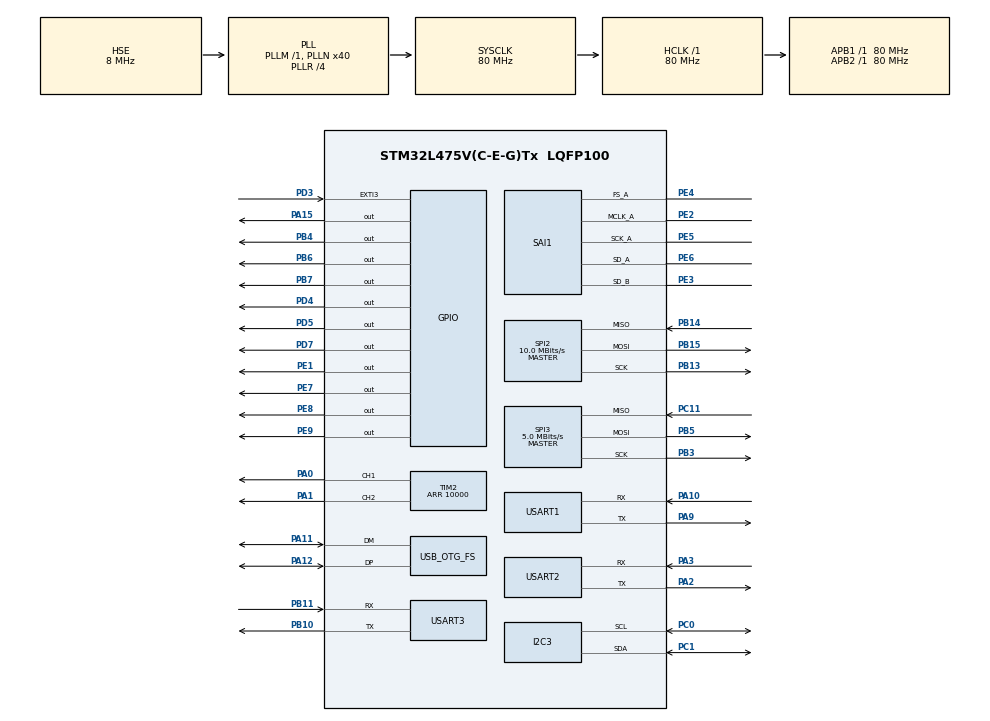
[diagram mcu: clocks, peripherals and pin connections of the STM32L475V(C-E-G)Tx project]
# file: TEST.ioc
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Dma.Request0=USART2_RX
Dma.Request1=USART3_RX
Dma.Request2=SAI1_A
Dma.Request3=SAI1_B
Dma.SAI1_A.2.Direction=DMA_MEMORY_TO_PERIPH
Dma.SAI1_A.2.Instance=DMA2_Channel1
Dma.SAI1_A.2.MemDataAlignment=DMA_MDATAALIGN_WORD
Dma.SAI1_A.2.MemInc=DMA_MINC_ENABLE
Dma.SAI1_A.2.Mode=DMA_NORMAL
Dma.SAI1_A.2.PeriphDataAlignment=DMA_PDATAALIGN_WORD
Dma.SAI1_A.2.PeriphInc=DMA_PINC_DISABLE
Dma.SAI1_A.2.Priority=DMA_PRIORITY_LOW
Dma.SAI1_B.3.Direction=DMA_PERIPH_TO_MEMORY
Dma.SAI1_B.3.Instance=DMA2_Channel2
Dma.SAI1_B.3.MemDataAlignment=DMA_MDATAALIGN_HALFWORD
Dma.SAI1_B.3.MemInc=DMA_MINC_ENABLE
Dma.SAI1_B.3.Mode=DMA_CIRCULAR
Dma.SAI1_B.3.PeriphDataAlignment=DMA_PDATAALIGN_HALFWORD
Dma.SAI1_B.3.PeriphInc=DMA_PINC_DISABLE
Dma.SAI1_B.3.Priority=DMA_PRIORITY_LOW
Dma.USART2_RX.0.Direction=DMA_PERIPH_TO_MEMORY
Dma.USART2_RX.0.Instance=DMA1_Channel6
Dma.USART2_RX.0.MemDataAlignment=DMA_MDATAALIGN_BYTE
Dma.USART2_RX.0.MemInc=DMA_MINC_ENABLE
Dma.USART2_RX.0.Mode=DMA_CIRCULAR
Dma.USART2_RX.0.PeriphDataAlignment=DMA_PDATAALIGN_BYTE
Dma.USART2_RX.0.PeriphInc=DMA_PINC_DISABLE
Dma.USART2_RX.0.Priority=DMA_PRIORITY_HIGH
Dma.USART3_RX.1.Direction=DMA_PERIPH_TO_MEMORY
Dma.USART3_RX.1.Instance=DMA1_Channel3
Dma.USART3_RX.1.MemDataAlignment=DMA_MDATAALIGN_BYTE
Dma.USART3_RX.1.MemInc=DMA_MINC_ENABLE
Dma.USART3_RX.1.Mode=DMA_CIRCULAR
Dma.USART3_RX.1.PeriphDataAlignment=DMA_PDATAALIGN_BYTE
Dma.USART3_RX.1.PeriphInc=DMA_PINC_DISABLE
Dma.USART3_RX.1.Priority=DMA_PRIORITY_HIGH
FREERTOS.MEMORY_ALLOCATION=2
FREERTOS.Tasks01=defaultTask,0,128,StartDefaultTask,Default,NULL,Static,defaultTaskBuffer,defaultTaskControlBlock
FREERTOS.configENABLE_FPU=1
FREERTOS.configTOTAL_HEAP_SIZE=30000
FREERTOS.configUSE_IDLE_HOOK=1
FREERTOS.configUSE_RECURSIVE_MUTEXES=1
I2C3.Timing=0x10D19CE4
Mcu.Family=STM32L4
Mcu.Name=STM32L475V(C-E-G)Tx
Mcu.Package=LQFP100
NVIC.DMA1_Channel3_IRQn=true\:5\:0\:false\:false\:true\:true\:false\:true\:true
NVIC.DMA1_Channel6_IRQn=true\:5\:0\:false\:false\:true\:true\:false\:true\:true
NVIC.DMA2_Channel1_IRQn=true\:0\:0\:false\:false\:true\:false\:false\:true\:true
NVIC.DMA2_Channel2_IRQn=true\:5\:0\:false\:false\:true\:true\:false\:true\:true
NVIC.EXTI3_IRQn=true\:5\:0\:false\:false\:true\:true\:true\:true\:true
NVIC.OTG_FS_IRQn=true\:5\:0\:false\:false\:true\:true\:true\:true\:true
NVIC.PriorityGroup=NVIC_PRIORITYGROUP_4
NVIC.TIM1_UP_TIM16_IRQn=true\:15\:0\:false\:false\:true\:false\:false\:true\:true
NVIC.TIM3_IRQn=true\:5\:0\:false\:false\:true\:true\:true\:true\:true
NVIC.TimeBase=TIM1_UP_TIM16_IRQn
NVIC.TimeBaseIP=TIM1
NVIC.USART1_IRQn=true\:5\:0\:false\:false\:true\:true\:true\:true\:true
NVIC.USART2_IRQn=true\:5\:0\:false\:false\:true\:true\:true\:true\:true
NVIC.USART3_IRQn=true\:5\:0\:false\:false\:true\:true\:true\:true\:true
PA0.GPIO_ModeDefaultPP=GPIO_MODE_AF_PP
PA0.Signal=S_TIM2_CH1
PA1.Signal=S_TIM2_CH2
PA10.Mode=Asynchronous
PA10.Signal=USART1_RX
PA11.Mode=Device_Only
PA11.Signal=USB_OTG_FS_DM
PA12.Mode=Device_Only
PA12.Signal=USB_OTG_FS_DP
PA13\ (JTMS-SWDIO).Mode=Serial_Wire
PA13\ (JTMS-SWDIO).Signal=SYS_JTMS-SWDIO
PA14\ (JTCK-SWCLK).Mode=Serial_Wire
PA14\ (JTCK-SWCLK).Signal=SYS_JTCK-SWCLK
PA15\ (JTDI).PinState=GPIO_PIN_SET
PA15\ (JTDI).Signal=GPIO_Output
PA2.Mode=Asynchronous
PA2.Signal=USART2_TX
PA3.Mode=Asynchronous
PA3.Signal=USART2_RX
PA9.Mode=Asynchronous
PA9.Signal=USART1_TX
PB10.Mode=Asynchronous
PB10.Signal=USART3_TX
PB11.Mode=Asynchronous
PB11.Signal=USART3_RX
PB13.Mode=Full_Duplex_Master
PB13.Signal=SPI2_SCK
PB14.Mode=Full_Duplex_Master
PB14.Signal=SPI2_MISO
PB15.Mode=Full_Duplex_Master
PB15.Signal=SPI2_MOSI
PB3\ (JTDO-TRACESWO).Mode=Full_Duplex_Master
PB3\ (JTDO-TRACESWO).Signal=SPI3_SCK
PB4\ (NJTRST).Signal=GPIO_Output
PB5.Mode=Full_Duplex_Master
PB5.Signal=SPI3_MOSI
PB6.Signal=GPIO_Output
PB7.PinState=GPIO_PIN_SET
PB7.Signal=GPIO_Output
PC0.Mode=I2C
PC0.Signal=I2C3_SCL
PC1.Mode=I2C
PC1.Signal=I2C3_SDA
PC11.Mode=Full_Duplex_Master
PC11.Signal=SPI3_MISO
PC14-OSC32_IN\ (PC14).Mode=LSE-External-Oscillator
PC14-OSC32_IN\ (PC14).Signal=RCC_OSC32_IN
PC15-OSC32_OUT\ (PC15).Mode=LSE-External-Oscillator
PC15-OSC32_OUT\ (PC15).Signal=RCC_OSC32_OUT
PD3.GPIO_ModeDefaultEXTI=GPIO_MODE_IT_FALLING
PD3.GPIO_PuPd=GPIO_PULLUP
PD3.Signal=GPXTI3
PD4.GPIO_PuPd=GPIO_PULLUP
PD4.PinState=GPIO_PIN_SET
PD4.Signal=GPIO_Output
PD5.GPIO_PuPd=GPIO_PULLUP
PD5.PinState=GPIO_PIN_SET
PD5.Signal=GPIO_Output
PD7.GPIO_PuPd=GPIO_PULLUP
PD7.PinState=GPIO_PIN_SET
PD7.Signal=GPIO_Output
PE1.GPIO_PuPd=GPIO_PULLUP
PE1.GPIO_Speed=GPIO_SPEED_FREQ_HIGH
PE1.PinState=GPIO_PIN_SET
PE1.Signal=GPIO_Output
PE2.Mode=SAI_A_MasterWithClock
PE2.Signal=SAI1_MCLK_A
PE3.Mode=SAI_B_SyncSlave
PE3.Signal=SAI1_SD_B
PE4.Mode=SAI_A_MasterWithClock
PE4.Signal=SAI1_FS_A
PE5.Mode=SAI_A_MasterWithClock
PE5.Signal=SAI1_SCK_A
PE6.Mode=SAI_A_MasterWithClock
PE6.Signal=SAI1_SD_A
PE7.Signal=GPIO_Output
PE8.Signal=GPIO_Output
PE9.Signal=GPIO_Output
PH0-OSC_IN\ (PH0).Mode=HSE-External-Oscillator
PH0-OSC_IN\ (PH0).Signal=RCC_OSC_IN
PH1-OSC_OUT\ (PH1).Mode=HSE-External-Oscillator
PH1-OSC_OUT\ (PH1).Signal=RCC_OSC_OUT
ProjectManager.HeapSize=0x200
ProjectManager.StackSize=0x400
ProjectManager.TargetToolchain=CMake
RCC.ADCFreq_Value=96000000
RCC.AHBFreq_Value=80000000
RCC.APB1Freq_Value=80000000
RCC.APB1TimFreq_Value=80000000
RCC.APB2Freq_Value=80000000
RCC.APB2TimFreq_Value=80000000
RCC.CortexFreq_Value=80000000
RCC.HCLKFreq_Value=80000000
RCC.HSE_VALUE=8000000
RCC.HSI_VALUE=16000000
RCC.MSI_VALUE=4000000
RCC.PLLN=40
RCC.PLLR=RCC_PLLR_DIV4
RCC.PLLSAI1N=24
RCC.PLLSAI1Q=RCC_PLLQ_DIV4
RCC.PLLSAI2N=26
RCC.PLLSAI2P=RCC_PLLP_DIV17
RCC.PLLSourceVirtual=RCC_PLLSOURCE_HSE
RCC.SAI1CLockSelection=RCC_SAI1CLKSOURCE_PLLSAI2
RCC.SYSCLKFreq_VALUE=80000000
RCC.SYSCLKSource=RCC_SYSCLKSOURCE_PLLCLK
RCC.USBFreq_Value=48000000
RCC.VCOOutputFreq_Value=320000000
SAI1.AudioFrequency-SAI_A_MasterWithClock=SAI_AUDIO_FREQUENCY_48K
SAI1.ErrorAudioFreq-SAI_A_MasterWithClock=-0.42 %
SAI1.InitProtocol-SAI_A_MasterWithClock=Enable
SAI1.InitProtocol-SAI_B_SyncSlave=Enable
SAI1.Instance-SAI_A_MasterWithClock=SAI$Index_Block_A
SAI1.Instance-SAI_B_SyncSlave=SAI$Index_Block_B
SAI1.MClockEnable-SAI_A_MasterWithClock=SAI_MASTERCLOCK_ENABLE
SAI1.OutputDrive-SAI_A_MasterWithClock=SAI_OUTPUTDRIVE_ENABLE
SAI1.OutputDrive-SAI_B_SyncSlave=SAI_OUTPUTDRIVE_ENABLE
SAI1.RealAudioFreq-SAI_A_MasterWithClock=47.794 KHz
SAI1.VirtualMode-SAI_A_MasterWithClock=VM_MASTER
SAI1.VirtualMode-SAI_B_SyncSlave=VM_SLAVE
SAI1.VirtualProtocol-SAI_A_BASIC=VM_BASIC_PROTOCOL
SAI1.VirtualProtocol-SAI_B_BASIC=VM_BASIC_PROTOCOL
SH.S_TIM2_CH1.0=TIM2_CH1,PWM Generation1 CH1
SH.S_TIM2_CH2.0=TIM2_CH2,PWM Generation2 CH2
SPI2.BaudRatePrescaler=SPI_BAUDRATEPRESCALER_8
SPI2.CalculateBaudRate=10.0 MBits/s
SPI2.DataSize=SPI_DATASIZE_8BIT
SPI2.Direction=SPI_DIRECTION_2LINES
SPI2.Mode=SPI_MODE_MASTER
SPI2.VirtualType=VM_MASTER
SPI3.BaudRatePrescaler=SPI_BAUDRATEPRESCALER_16
SPI3.CalculateBaudRate=5.0 MBits/s
SPI3.DataSize=SPI_DATASIZE_8BIT
SPI3.Direction=SPI_DIRECTION_2LINES
SPI3.FirstBit=SPI_FIRSTBIT_MSB
SPI3.Mode=SPI_MODE_MASTER
SPI3.NSSPMode=SPI_NSS_PULSE_DISABLE
SPI3.VirtualType=VM_MASTER
TIM2.Channel-PWM\ Generation1\ CH1=TIM_CHANNEL_1
TIM2.Channel-PWM\ Generation2\ CH2=TIM_CHANNEL_2
TIM2.Period=10000
TIM3.Period=10000
TIM3.Prescaler=7
USART1.VirtualMode-Asynchronous=VM_ASYNC
USART2.VirtualMode-Asynchronous=VM_ASYNC
USART3.VirtualMode-Asynchronous=VM_ASYNC
VP_FREERTOS_VS_CMSIS_V1.Mode=CMSIS_V1
VP_RTC_VS_RTC_Activate.Mode=RTC_Enabled
VP_RTC_VS_RTC_Calendar.Mode=RTC_Calendar
VP_SAI1_VP_$IpInstance_SAIA_SAI_BASIC.Mode=SAI_A_BASIC
VP_SAI1_VP_$IpInstance_SAIB_SAI_BASIC.Mode=SAI_B_BASIC
VP_SYS_VS_tim1.Mode=TIM1
VP_TIM2_VS_ClockSourceINT.Mode=Internal
VP_TIM3_VS_ClockSourceINT.Mode=Internal
board=custom

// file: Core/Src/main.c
/* USER CODE BEGIN Header */
/**
  ******************************************************************************
  * @file           : main.c
  * @brief          : Main program body
  ******************************************************************************
  * @attention
  *
  * Copyright (c) 2025 STMicroelectronics.
  * All rights reserved.
  *
  * This software is licensed under terms that can be found in the LICENSE file
  * in the root directory of this software component.
  * If no LICENSE file comes with this software, it is provided AS-IS.
  *
  ******************************************************************************
  */
/* USER CODE END Header */
#include "main.h"
#include "cmsis_os.h"
#include "usb_device.h"

/* USER CODE BEGIN Includes */
#include "config.h"
#if (CONFIG_USE_FREEMASTER == 1)
#include "freemaster.h"
#else
#include "debug_log.h"
#endif
#include "dc_control.h"
#include "lv_gui.h"
#include "esp8266_wifi.h"
#include "bsp_flash.h"
#include "app_main.h"
#include "es8388.h"
#include "usbd_audio_if.h"
/* USER CODE END Includes */

I2C_HandleTypeDef hi2c3;

RTC_HandleTypeDef hrtc;

SAI_HandleTypeDef hsai_BlockA1;
SAI_HandleTypeDef hsai_BlockB1;
DMA_HandleTypeDef hdma_sai1_a;
DMA_HandleTypeDef hdma_sai1_b;

SPI_HandleTypeDef hspi2;
SPI_HandleTypeDef hspi3;

TIM_HandleTypeDef htim2;
TIM_HandleTypeDef htim3;

UART_HandleTypeDef huart1;
UART_HandleTypeDef huart2;
UART_HandleTypeDef huart3;
DMA_HandleTypeDef hdma_usart2_rx;
DMA_HandleTypeDef hdma_usart3_rx;

osThreadId defaultTaskHandle;
/* Must match the stack depth in osThreadStaticDef() below. */
uint32_t defaultTaskBuffer[ 1024 ];
osStaticThreadDef_t defaultTaskControlBlock;
/* USER CODE BEGIN PV */

uint32_t num = 0;
/* USER CODE END PV */

void SystemClock_Config(void);
void PeriphCommonClock_Config(void);
static void MX_GPIO_Init(void);
static void MX_DMA_Init(void);
static void MX_SPI3_Init(void);
static void MX_TIM2_Init(void);
static void MX_TIM3_Init(void);
static void MX_USART1_UART_Init(void);
static void MX_USART2_UART_Init(void);
static void MX_RTC_Init(void);
static void MX_USART3_UART_Init(void);
static void MX_SPI2_Init(void);
static void MX_SAI1_Init(void);
static void MX_I2C3_Init(void);
void StartDefaultTask(void const * argument);

int main(void)
{

  /* MCU Configuration--------------------------------------------------------*/

  /* Reset of all peripherals, Initializes the Flash interface and the Systick. */
  HAL_Init();

  /* Configure the system clock */
  SystemClock_Config();

  /* Configure the peripherals common clocks */
  PeriphCommonClock_Config();

  /* Initialize all configured peripherals */
  MX_GPIO_Init();
  MX_DMA_Init();
  MX_SPI3_Init();
  MX_TIM2_Init();
  MX_TIM3_Init();
  MX_USART1_UART_Init();
  MX_USART2_UART_Init();
  MX_RTC_Init();
  MX_USART3_UART_Init();
  MX_SPI2_Init();
  MX_SAI1_Init();
  MX_I2C3_Init();
  /* USER CODE BEGIN 2 */

  app_init();
  /* USER CODE END 2 */

  /* Create the thread(s) */
  /* definition and creation of defaultTask */
  /* Stack raised from 128 to 1024 words: this task runs MX_USB_DEVICE_Init(),
     whose call chain (USBD_Init -> USBD_LL_Init -> HAL_PCD_Init ->
     HAL_PCD_MspInit, and USBD_RegisterClassComposite ->
     USBD_CMPSIT_AddToConfDesc -> USBD_CMPSIT_CDCDesc with its descriptor
     locals) is far deeper than the CubeMX default of 128 words. A 512 byte
     stack risked overflowing into the adjacent .bss, corrupting
     hUsbDeviceFS and leaving the composite device half configured. */
  osThreadStaticDef(defaultTask, StartDefaultTask, osPriorityNormal, 0, 1024, defaultTaskBuffer, &defaultTaskControlBlock);
  defaultTaskHandle = osThreadCreate(osThread(defaultTask), NULL);

  /* USER CODE BEGIN RTOS_THREADS */
  /* add threads, ... */
  app_task_init();
  /* USER CODE END RTOS_THREADS */

  /* Start scheduler */
  osKernelStart();

  /* We should never get here as control is now taken by the scheduler */

  /* Infinite loop */
  while (1)
  {

  }
}

void SystemClock_Config(void)
{
  RCC_OscInitTypeDef RCC_OscInitStruct = {0};
  RCC_ClkInitTypeDef RCC_ClkInitStruct = {0};

  /** Configure the main internal regulator output voltage
  */
  if (HAL_PWREx_ControlVoltageScaling(PWR_REGULATOR_VOLTAGE_SCALE1) != HAL_OK)
  {
    Error_Handler();
  }

  /** Initializes the RCC Oscillators according to the specified parameters
  * in the RCC_OscInitTypeDef structure.
  */
  RCC_OscInitStruct.OscillatorType = RCC_OSCILLATORTYPE_LSI|RCC_OSCILLATORTYPE_HSE;
  RCC_OscInitStruct.HSEState = RCC_HSE_ON;
  RCC_OscInitStruct.LSIState = RCC_LSI_ON;
  RCC_OscInitStruct.PLL.PLLState = RCC_PLL_ON;
  RCC_OscInitStruct.PLL.PLLSource = RCC_PLLSOURCE_HSE;
  RCC_OscInitStruct.PLL.PLLM = 1;
  RCC_OscInitStruct.PLL.PLLN = 40;
  RCC_OscInitStruct.PLL.PLLP = RCC_PLLP_DIV7;
  RCC_OscInitStruct.PLL.PLLQ = RCC_PLLQ_DIV2;
  RCC_OscInitStruct.PLL.PLLR = RCC_PLLR_DIV4;
  if (HAL_RCC_OscConfig(&RCC_OscInitStruct) != HAL_OK)
  {
    Error_Handler();
  }

  /** Initializes the CPU, AHB and APB buses clocks
  */
  RCC_ClkInitStruct.ClockType = RCC_CLOCKTYPE_HCLK|RCC_CLOCKTYPE_SYSCLK
                              |RCC_CLOCKTYPE_PCLK1|RCC_CLOCKTYPE_PCLK2;
  RCC_ClkInitStruct.SYSCLKSource = RCC_SYSCLKSOURCE_PLLCLK;
  RCC_ClkInitStruct.AHBCLKDivider = RCC_SYSCLK_DIV1;
  RCC_ClkInitStruct.APB1CLKDivider = RCC_HCLK_DIV1;
  RCC_ClkInitStruct.APB2CLKDivider = RCC_HCLK_DIV1;

  if (HAL_RCC_ClockConfig(&RCC_ClkInitStruct, FLASH_LATENCY_4) != HAL_OK)
  {
    Error_Handler();
  }
}

void PeriphCommonClock_Config(void)
{
  RCC_PeriphCLKInitTypeDef PeriphClkInit = {0};

  /** Initializes the peripherals clock
  */
  PeriphClkInit.PeriphClockSelection = RCC_PERIPHCLK_SAI1;
  PeriphClkInit.Sai1ClockSelection = RCC_SAI1CLKSOURCE_PLLSAI2;
  PeriphClkInit.PLLSAI2.PLLSAI2Source = RCC_PLLSOURCE_HSE;
  PeriphClkInit.PLLSAI2.PLLSAI2M = 1;
  PeriphClkInit.PLLSAI2.PLLSAI2N = 26;
  PeriphClkInit.PLLSAI2.PLLSAI2P = RCC_PLLP_DIV17;
  PeriphClkInit.PLLSAI2.PLLSAI2R = RCC_PLLR_DIV2;
  PeriphClkInit.PLLSAI2.PLLSAI2ClockOut = RCC_PLLSAI2_SAI2CLK;
  if (HAL_RCCEx_PeriphCLKConfig(&PeriphClkInit) != HAL_OK)
  {
    Error_Handler();
  }
}

static void MX_I2C3_Init(void)
{

  hi2c3.Instance = I2C3;
  hi2c3.Init.Timing = 0x10D19CE4;
  hi2c3.Init.OwnAddress1 = 0;
  hi2c3.Init.AddressingMode = I2C_ADDRESSINGMODE_7BIT;
  hi2c3.Init.DualAddressMode = I2C_DUALADDRESS_DISABLE;
  hi2c3.Init.OwnAddress2 = 0;
  hi2c3.Init.OwnAddress2Masks = I2C_OA2_NOMASK;
  hi2c3.Init.GeneralCallMode = I2C_GENERALCALL_DISABLE;
  hi2c3.Init.NoStretchMode = I2C_NOSTRETCH_DISABLE;
  if (HAL_I2C_Init(&hi2c3) != HAL_OK)
  {
    Error_Handler();
  }

  /** Configure Analogue filter
  */
  if (HAL_I2CEx_ConfigAnalogFilter(&hi2c3, I2C_ANALOGFILTER_ENABLE) != HAL_OK)
  {
    Error_Handler();
  }

  /** Configure Digital filter
  */
  if (HAL_I2CEx_ConfigDigitalFilter(&hi2c3, 0) != HAL_OK)
  {
    Error_Handler();
  }

}

static void MX_RTC_Init(void)
{

  RTC_TimeTypeDef sTime = {0};
  RTC_DateTypeDef sDate = {0};

  /** Initialize RTC Only
  */
  hrtc.Instance = RTC;
  hrtc.Init.HourFormat = RTC_HOURFORMAT_24;
  hrtc.Init.AsynchPrediv = 127;
  hrtc.Init.SynchPrediv = 255;
  hrtc.Init.OutPut = RTC_OUTPUT_DISABLE;
  hrtc.Init.OutPutRemap = RTC_OUTPUT_REMAP_NONE;
  hrtc.Init.OutPutPolarity = RTC_OUTPUT_POLARITY_HIGH;
  hrtc.Init.OutPutType = RTC_OUTPUT_TYPE_OPENDRAIN;
  if (HAL_RTC_Init(&hrtc) != HAL_OK)
  {
    Error_Handler();
  }

  /** Initialize RTC and set the Time and Date
  */
  sTime.Hours = 0x0;
  sTime.Minutes = 0x0;
  sTime.Seconds = 0x0;
  sTime.DayLightSaving = RTC_DAYLIGHTSAVING_NONE;
  sTime.StoreOperation = RTC_STOREOPERATION_RESET;
  if (HAL_RTC_SetTime(&hrtc, &sTime, RTC_FORMAT_BCD) != HAL_OK)
  {
    Error_Handler();
  }
  sDate.WeekDay = RTC_WEEKDAY_MONDAY;
  sDate.Month = RTC_MONTH_JANUARY;
  sDate.Date = 0x1;
  sDate.Year = 0x0;

  if (HAL_RTC_SetDate(&hrtc, &sDate, RTC_FORMAT_BCD) != HAL_OK)
  {
    Error_Handler();
  }

}

static void MX_SAI1_Init(void)
{

  hsai_BlockA1.Instance = SAI1_Block_A;
  hsai_BlockA1.Init.AudioMode = SAI_MODEMASTER_TX;
  hsai_BlockA1.Init.Synchro = SAI_ASYNCHRONOUS;
  hsai_BlockA1.Init.OutputDrive = SAI_OUTPUTDRIVE_ENABLE;
  hsai_BlockA1.Init.NoDivider = SAI_MASTERDIVIDER_ENABLE;
  hsai_BlockA1.Init.FIFOThreshold = SAI_FIFOTHRESHOLD_EMPTY;
  hsai_BlockA1.Init.AudioFrequency = SAI_AUDIO_FREQUENCY_48K;
  hsai_BlockA1.Init.SynchroExt = SAI_SYNCEXT_DISABLE;
  hsai_BlockA1.Init.MonoStereoMode = SAI_STEREOMODE;
  hsai_BlockA1.Init.CompandingMode = SAI_NOCOMPANDING;
  hsai_BlockA1.Init.TriState = SAI_OUTPUT_NOTRELEASED;
  if (HAL_SAI_InitProtocol(&hsai_BlockA1, SAI_I2S_STANDARD, SAI_PROTOCOL_DATASIZE_16BIT, 2) != HAL_OK)
  {
    Error_Handler();
  }
  hsai_BlockB1.Instance = SAI1_Block_B;
  hsai_BlockB1.Init.AudioMode = SAI_MODESLAVE_RX;
  hsai_BlockB1.Init.Synchro = SAI_SYNCHRONOUS;
  hsai_BlockB1.Init.OutputDrive = SAI_OUTPUTDRIVE_ENABLE;
  hsai_BlockB1.Init.FIFOThreshold = SAI_FIFOTHRESHOLD_EMPTY;
  hsai_BlockB1.Init.SynchroExt = SAI_SYNCEXT_DISABLE;
  hsai_BlockB1.Init.MonoStereoMode = SAI_STEREOMODE;
  hsai_BlockB1.Init.CompandingMode = SAI_NOCOMPANDING;
  hsai_BlockB1.Init.TriState = SAI_OUTPUT_NOTRELEASED;
  if (HAL_SAI_InitProtocol(&hsai_BlockB1, SAI_I2S_STANDARD, SAI_PROTOCOL_DATASIZE_16BIT, 2) != HAL_OK)
  {
    Error_Handler();
  }

}

static void MX_SPI2_Init(void)
{

  /* SPI2 parameter configuration*/
  hspi2.Instance = SPI2;
  hspi2.Init.Mode = SPI_MODE_MASTER;
  hspi2.Init.Direction = SPI_DIRECTION_2LINES;
  hspi2.Init.DataSize = SPI_DATASIZE_8BIT;
  hspi2.Init.CLKPolarity = SPI_POLARITY_LOW;
  hspi2.Init.CLKPhase = SPI_PHASE_1EDGE;
  hspi2.Init.NSS = SPI_NSS_SOFT;
  hspi2.Init.BaudRatePrescaler = SPI_BAUDRATEPRESCALER_8;
  hspi2.Init.FirstBit = SPI_FIRSTBIT_MSB;
  hspi2.Init.TIMode = SPI_TIMODE_DISABLE;
  hspi2.Init.CRCCalculation = SPI_CRCCALCULATION_DISABLE;
  hspi2.Init.CRCPolynomial = 7;
  hspi2.Init.CRCLength = SPI_CRC_LENGTH_DATASIZE;
  hspi2.Init.NSSPMode = SPI_NSS_PULSE_ENABLE;
  if (HAL_SPI_Init(&hspi2) != HAL_OK)
  {
    Error_Handler();
  }

}

static void MX_SPI3_Init(void)
{

  /* SPI3 parameter configuration*/
  hspi3.Instance = SPI3;
  hspi3.Init.Mode = SPI_MODE_MASTER;
  hspi3.Init.Direction = SPI_DIRECTION_2LINES;
  hspi3.Init.DataSize = SPI_DATASIZE_8BIT;
  hspi3.Init.CLKPolarity = SPI_POLARITY_LOW;
  hspi3.Init.CLKPhase = SPI_PHASE_1EDGE;
  hspi3.Init.NSS = SPI_NSS_SOFT;
  hspi3.Init.BaudRatePrescaler = SPI_BAUDRATEPRESCALER_16;
  hspi3.Init.FirstBit = SPI_FIRSTBIT_MSB;
  hspi3.Init.TIMode = SPI_TIMODE_DISABLE;
  hspi3.Init.CRCCalculation = SPI_CRCCALCULATION_DISABLE;
  hspi3.Init.CRCPolynomial = 7;
  hspi3.Init.CRCLength = SPI_CRC_LENGTH_DATASIZE;
  hspi3.Init.NSSPMode = SPI_NSS_PULSE_DISABLE;
  if (HAL_SPI_Init(&hspi3) != HAL_OK)
  {
    Error_Handler();
  }

}

static void MX_TIM2_Init(void)
{

  TIM_ClockConfigTypeDef sClockSourceConfig = {0};
  TIM_MasterConfigTypeDef sMasterConfig = {0};
  TIM_OC_InitTypeDef sConfigOC = {0};

  htim2.Instance = TIM2;
  htim2.Init.Prescaler = 0;
  htim2.Init.CounterMode = TIM_COUNTERMODE_UP;
  htim2.Init.Period = 10000;
  htim2.Init.ClockDivision = TIM_CLOCKDIVISION_DIV1;
  htim2.Init.AutoReloadPreload = TIM_AUTORELOAD_PRELOAD_DISABLE;
  if (HAL_TIM_Base_Init(&htim2) != HAL_OK)
  {
    Error_Handler();
  }
  sClockSourceConfig.ClockSource = TIM_CLOCKSOURCE_INTERNAL;
  if (HAL_TIM_ConfigClockSource(&htim2, &sClockSourceConfig) != HAL_OK)
  {
    Error_Handler();
  }
  if (HAL_TIM_PWM_Init(&htim2) != HAL_OK)
  {
    Error_Handler();
  }
  sMasterConfig.MasterOutputTrigger = TIM_TRGO_RESET;
  sMasterConfig.MasterSlaveMode = TIM_MASTERSLAVEMODE_DISABLE;
  if (HAL_TIMEx_MasterConfigSynchronization(&htim2, &sMasterConfig) != HAL_OK)
  {
    Error_Handler();
  }
  sConfigOC.OCMode = TIM_OCMODE_PWM1;
  sConfigOC.Pulse = 0;
  sConfigOC.OCPolarity = TIM_OCPOLARITY_HIGH;
  sConfigOC.OCFastMode = TIM_OCFAST_DISABLE;
  if (HAL_TIM_PWM_ConfigChannel(&htim2, &sConfigOC, TIM_CHANNEL_1) != HAL_OK)
  {
    Error_Handler();
  }
  if (HAL_TIM_PWM_ConfigChannel(&htim2, &sConfigOC, TIM_CHANNEL_2) != HAL_OK)
  {
    Error_Handler();
  }
  HAL_TIM_MspPostInit(&htim2);

}

static void MX_TIM3_Init(void)
{

  TIM_ClockConfigTypeDef sClockSourceConfig = {0};
  TIM_MasterConfigTypeDef sMasterConfig = {0};

  htim3.Instance = TIM3;
  htim3.Init.Prescaler = 7;
  htim3.Init.CounterMode = TIM_COUNTERMODE_UP;
  htim3.Init.Period = 10000;
  htim3.Init.ClockDivision = TIM_CLOCKDIVISION_DIV1;
  htim3.Init.AutoReloadPreload = TIM_AUTORELOAD_PRELOAD_DISABLE;
  if (HAL_TIM_Base_Init(&htim3) != HAL_OK)
  {
    Error_Handler();
  }
  sClockSourceConfig.ClockSource = TIM_CLOCKSOURCE_INTERNAL;
  if (HAL_TIM_ConfigClockSource(&htim3, &sClockSourceConfig) != HAL_OK)
  {
    Error_Handler();
  }
  sMasterConfig.MasterOutputTrigger = TIM_TRGO_RESET;
  sMasterConfig.MasterSlaveMode = TIM_MASTERSLAVEMODE_DISABLE;
  if (HAL_TIMEx_MasterConfigSynchronization(&htim3, &sMasterConfig) != HAL_OK)
  {
    Error_Handler();
  }

}

static void MX_USART1_UART_Init(void)
{

  huart1.Instance = USART1;
  huart1.Init.BaudRate = 115200;
  huart1.Init.WordLength = UART_WORDLENGTH_8B;
  huart1.Init.StopBits = UART_STOPBITS_1;
  huart1.Init.Parity = UART_PARITY_NONE;
  huart1.Init.Mode = UART_MODE_TX_RX;
  huart1.Init.HwFlowCtl = UART_HWCONTROL_NONE;
  huart1.Init.OverSampling = UART_OVERSAMPLING_16;
  huart1.Init.OneBitSampling = UART_ONE_BIT_SAMPLE_DISABLE;
  huart1.AdvancedInit.AdvFeatureInit = UART_ADVFEATURE_NO_INIT;
  if (HAL_UART_Init(&huart1) != HAL_OK)
  {
    Error_Handler();
  }

}

static void MX_USART2_UART_Init(void)
{

  huart2.Instance = USART2;
  huart2.Init.BaudRate = 115200;
  huart2.Init.WordLength = UART_WORDLENGTH_8B;
  huart2.Init.StopBits = UART_STOPBITS_1;
  huart2.Init.Parity = UART_PARITY_NONE;
  huart2.Init.Mode = UART_MODE_TX_RX;
  huart2.Init.HwFlowCtl = UART_HWCONTROL_NONE;
  huart2.Init.OverSampling = UART_OVERSAMPLING_16;
  huart2.Init.OneBitSampling = UART_ONE_BIT_SAMPLE_DISABLE;
  huart2.AdvancedInit.AdvFeatureInit = UART_ADVFEATURE_NO_INIT;
  if (HAL_UART_Init(&huart2) != HAL_OK)
  {
    Error_Handler();
  }

}

static void MX_USART3_UART_Init(void)
{

  huart3.Instance = USART3;
  huart3.Init.BaudRate = 115200;
  huart3.Init.WordLength = UART_WORDLENGTH_8B;
  huart3.Init.StopBits = UART_STOPBITS_1;
  huart3.Init.Parity = UART_PARITY_NONE;
  huart3.Init.Mode = UART_MODE_TX_RX;
  huart3.Init.HwFlowCtl = UART_HWCONTROL_NONE;
  huart3.Init.OverSampling = UART_OVERSAMPLING_16;
  huart3.Init.OneBitSampling = UART_ONE_BIT_SAMPLE_DISABLE;
  huart3.AdvancedInit.AdvFeatureInit = UART_ADVFEATURE_NO_INIT;
  if (HAL_UART_Init(&huart3) != HAL_OK)
  {
    Error_Handler();
  }

}

static void MX_DMA_Init(void)
{

  /* DMA controller clock enable */
  __HAL_RCC_DMA1_CLK_ENABLE();
  __HAL_RCC_DMA2_CLK_ENABLE();

  /* DMA interrupt init */
  /* DMA1_Channel3_IRQn interrupt configuration */
  HAL_NVIC_SetPriority(DMA1_Channel3_IRQn, 5, 0);
  HAL_NVIC_EnableIRQ(DMA1_Channel3_IRQn);
  /* DMA1_Channel6_IRQn interrupt configuration */
  HAL_NVIC_SetPriority(DMA1_Channel6_IRQn, 5, 0);
  HAL_NVIC_EnableIRQ(DMA1_Channel6_IRQn);
  /* DMA2_Channel1_IRQn interrupt configuration */
  HAL_NVIC_SetPriority(DMA2_Channel1_IRQn, 0, 0);
  HAL_NVIC_EnableIRQ(DMA2_Channel1_IRQn);
  /* DMA2_Channel2_IRQn interrupt configuration */
  HAL_NVIC_SetPriority(DMA2_Channel2_IRQn, 5, 0);
  HAL_NVIC_EnableIRQ(DMA2_Channel2_IRQn);

}

static void MX_GPIO_Init(void)
{
  GPIO_InitTypeDef GPIO_InitStruct = {0};

  /* GPIO Ports Clock Enable */
  __HAL_RCC_GPIOE_CLK_ENABLE();
  __HAL_RCC_GPIOC_CLK_ENABLE();
  __HAL_RCC_GPIOH_CLK_ENABLE();
  __HAL_RCC_GPIOA_CLK_ENABLE();
  __HAL_RCC_GPIOB_CLK_ENABLE();
  __HAL_RCC_GPIOD_CLK_ENABLE();

  /*Configure GPIO pin Output Level */
  HAL_GPIO_WritePin(GPIOE, GPIO_PIN_7|GPIO_PIN_8|GPIO_PIN_9, GPIO_PIN_RESET);

  /*Configure GPIO pin Output Level */
  HAL_GPIO_WritePin(GPIOA, GPIO_PIN_15, GPIO_PIN_SET);

  /*Configure GPIO pin Output Level */
  HAL_GPIO_WritePin(GPIOD, GPIO_PIN_4|GPIO_PIN_5|GPIO_PIN_7, GPIO_PIN_SET);

  /*Configure GPIO pin Output Level */
  HAL_GPIO_WritePin(GPIOB, GPIO_PIN_4|GPIO_PIN_6, GPIO_PIN_RESET);

  /*Configure GPIO pin Output Level */
  HAL_GPIO_WritePin(GPIOB, GPIO_PIN_7, GPIO_PIN_SET);

  /*Configure GPIO pin Output Level */
  HAL_GPIO_WritePin(GPIOE, GPIO_PIN_1, GPIO_PIN_SET);

  /*Configure GPIO pins : PE7 PE8 PE9 */
  GPIO_InitStruct.Pin = GPIO_PIN_7|GPIO_PIN_8|GPIO_PIN_9;
  GPIO_InitStruct.Mode = GPIO_MODE_OUTPUT_PP;
  GPIO_InitStruct.Pull = GPIO_NOPULL;
  GPIO_InitStruct.Speed = GPIO_SPEED_FREQ_LOW;
  HAL_GPIO_Init(GPIOE, &GPIO_InitStruct);

  /*Configure GPIO pin : PA15 */
  GPIO_InitStruct.Pin = GPIO_PIN_15;
  GPIO_InitStruct.Mode = GPIO_MODE_OUTPUT_PP;
  GPIO_InitStruct.Pull = GPIO_NOPULL;
  GPIO_InitStruct.Speed = GPIO_SPEED_FREQ_LOW;
  HAL_GPIO_Init(GPIOA, &GPIO_InitStruct);

  /*Configure GPIO pin : PD3 */
  GPIO_InitStruct.Pin = GPIO_PIN_3;
  GPIO_InitStruct.Mode = GPIO_MODE_IT_FALLING;
  GPIO_InitStruct.Pull = GPIO_PULLUP;
  HAL_GPIO_Init(GPIOD, &GPIO_InitStruct);

  /*Configure GPIO pins : PD4 PD5 PD7 */
  GPIO_InitStruct.Pin = GPIO_PIN_4|GPIO_PIN_5|GPIO_PIN_7;
  GPIO_InitStruct.Mode = GPIO_MODE_OUTPUT_PP;
  GPIO_InitStruct.Pull = GPIO_PULLUP;
  GPIO_InitStruct.Speed = GPIO_SPEED_FREQ_LOW;
  HAL_GPIO_Init(GPIOD, &GPIO_InitStruct);

  /*Configure GPIO pins : PB4 PB6 PB7 */
  GPIO_InitStruct.Pin = GPIO_PIN_4|GPIO_PIN_6|GPIO_PIN_7;
  GPIO_InitStruct.Mode = GPIO_MODE_OUTPUT_PP;
  GPIO_InitStruct.Pull = GPIO_NOPULL;
  GPIO_InitStruct.Speed = GPIO_SPEED_FREQ_LOW;
  HAL_GPIO_Init(GPIOB, &GPIO_InitStruct);

  /*Configure GPIO pin : PE1 */
  GPIO_InitStruct.Pin = GPIO_PIN_1;
  GPIO_InitStruct.Mode = GPIO_MODE_OUTPUT_PP;
  GPIO_InitStruct.Pull = GPIO_PULLUP;
  GPIO_InitStruct.Speed = GPIO_SPEED_FREQ_HIGH;
  HAL_GPIO_Init(GPIOE, &GPIO_InitStruct);

  /* EXTI interrupt init*/
  HAL_NVIC_SetPriority(EXTI3_IRQn, 5, 0);
  HAL_NVIC_EnableIRQ(EXTI3_IRQn);

}

void StartDefaultTask(void const * argument)
{
  /* init code for USB_DEVICE */
  MX_USB_DEVICE_Init();
  /* USER CODE BEGIN 5 */
#if (CONFIG_USE_FREEMASTER == 0)
  LOG_INFO("defaultTask started, USB Audio diagnostics enabled");
#endif
  /* Infinite loop */
  for(;;)
  {
#if (CONFIG_USE_FREEMASTER == 1)
   FMSTR_Poll();
#endif
   HAL_GPIO_WritePin(GPIOE, GPIO_PIN_7|GPIO_PIN_8|GPIO_PIN_9, GPIO_PIN_RESET);
   AUDIO_IF_ReportDiagnostics();
   osDelay(1000);
   HAL_GPIO_WritePin(GPIOE, GPIO_PIN_7|GPIO_PIN_8|GPIO_PIN_9, GPIO_PIN_SET);

    osDelay(1000);
  }
  /* USER CODE END 5 */
}

void HAL_TIM_PeriodElapsedCallback(TIM_HandleTypeDef *htim)
{
  if (htim->Instance == TIM1)
  {
    HAL_IncTick();
  }
  /* USER CODE BEGIN Callback 1 */
  if(htim->Instance == TIM3)
  {
    app_timer_it_callback();
      // FMSTR_Recorder(0);
  }

  /* USER CODE END Callback 1 */
}

void Error_Handler(void)
{
  __disable_irq();
  while (1)
  {
  }
}
